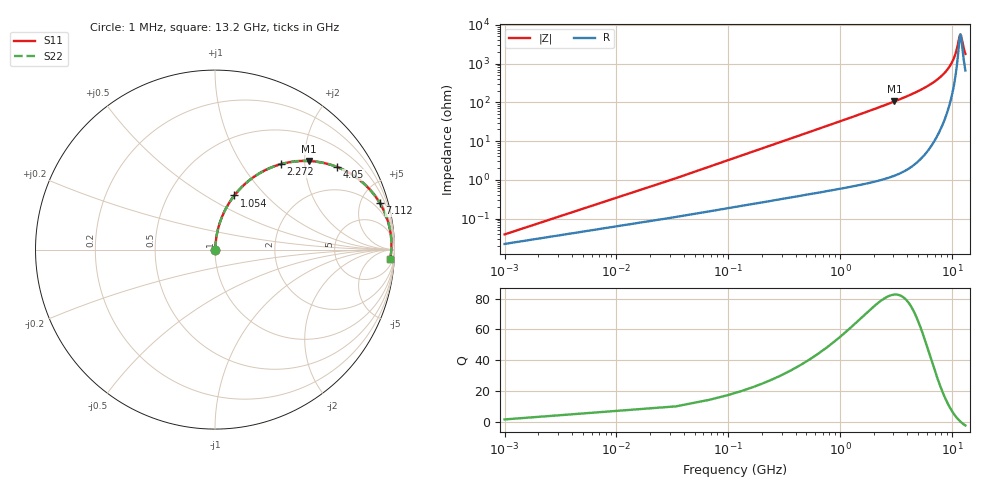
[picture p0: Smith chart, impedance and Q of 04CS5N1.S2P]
! Coilcraft 0402CS-5N1 Chip Inductor
! 29 May 2002
# MHZ S MA R 50
!Freq  MagS11  AngS11  MagS21  AngS21  MagS12  AngS12  MagS22  AngS22
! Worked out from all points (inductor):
!   402 points, 1 MHz to 13.2 GHz, reference 50 ohm
!   read as one part in series: L = 5.1 nH near 66.84 MHz
!   highest Q = 82.6 at 3.063 GHz (marker M1), where L = 5.46 nH
!   self-resonance near 11.94 GHz
!   S11 on the Smith chart (normalised r, x): 1 MHz: 1.00, +0.00; 1.054 GHz: 1.01, +0.68; 2.272 GHz: 1.02, +1.51; 4.05 GHz: 1.04, +2.93; 7.112 GHz: 1.22, +7.07; 13.2 GHz: 14, -33
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1  0.0003892 55.4  0.9998 -0.0  0.9998 -0.0  0.0003892 55.4
99.76  0.03195 84.9  0.9976 -1.8  0.9976 -1.8  0.03195 84.9
132.68  0.04245 84.7  0.997 -2.4  0.997 -2.4  0.04245 84.7
198.52  0.06339 84.0  0.9954 -3.6  0.9954 -3.6  0.06339 84.0
330.2  0.105 82.2  0.9912 -6.0  0.9912 -6.0  0.105 82.2
494.8  0.1563 79.5  0.9837 -9.0  0.9837 -9.0  0.1563 79.5
725.24  0.2262 75.7  0.9693 -13.1  0.9693 -13.1  0.2262 75.7
1054.44  0.3207 70.3  0.9415 -18.7  0.9415 -18.7  0.3207 70.3
1548.24  0.4479 62.5  0.8875 -26.6  0.8875 -26.6  0.4479 62.5
2206.64  0.5872 53.3  0.8019 -36.0  0.8019 -36.0  0.5872 53.3
2272.48  0.5993 52.5  0.7929 -36.8  0.7929 -36.8  0.5993 52.5
3062.56  0.7201 43.2  0.6852 -46.1  0.6852 -46.1  0.7201 43.2
4050.16  0.8215 34.0  0.5598 -55.2  0.5598 -55.2  0.8215 34.0
4412.28  0.8485 31.2  0.5178 -58.0  0.5178 -58.0  0.8485 31.2
6617.92  0.9436 17.9  0.3079 -70.6  0.3079 -70.6  0.9436 17.9
7111.72  0.9545 15.7  0.2699 -72.6  0.2699 -72.6  0.9545 15.7
8823.56  0.9768 9.0  0.1567 -77.0  0.1567 -77.0  0.9768 9.0
10107.44  0.983 4.9  0.08665 -76.2  0.08665 -76.2  0.983 4.9
11029.2  0.9838 2.3  0.04335 -67.0  0.04335 -67.0  0.9838 2.3
11687.6  0.983 0.6  0.02004 -31.9  0.02004 -31.9  0.983 0.6
11918.04  0.9825 0.0  0.01748 -2.5  0.01748 -2.5  0.9825 0.0
13200  0.9779 -2.9  0.05537 65.0  0.05537 65.0  0.9779 -2.9
